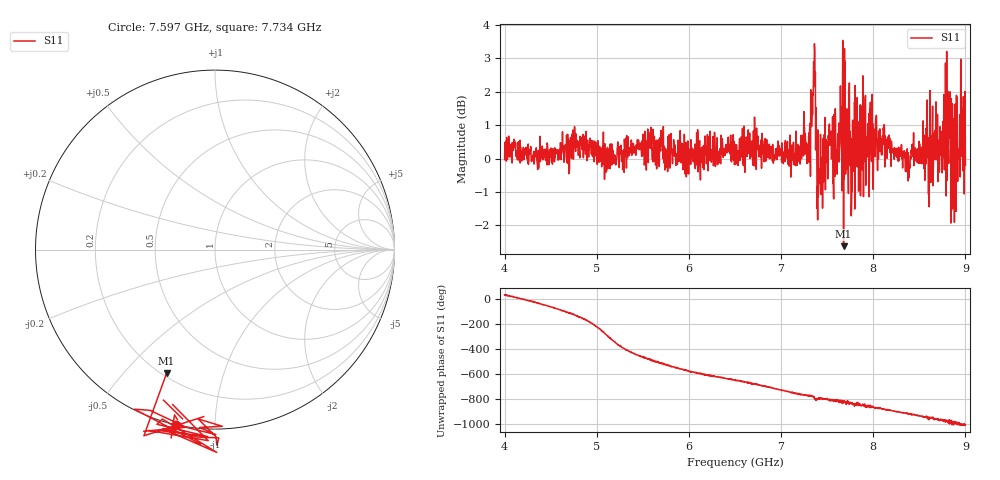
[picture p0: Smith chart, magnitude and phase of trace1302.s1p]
! Created with skrf 1.8.0 (http://scikit-rf.org).
# Hz S RI R 50.0
!freq ReS11 ImS11
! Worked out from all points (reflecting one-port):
!   1601 points, 4 GHz to 9 GHz, reference 50 ohm
!   lowest |S11| = -2.6 dB at 7.678 GHz (marker M1), VSWR 6.68, Z = 10.9 - j33 ohm
!   phase of S11 starts at 37 deg and turns -1044 deg over the sweep
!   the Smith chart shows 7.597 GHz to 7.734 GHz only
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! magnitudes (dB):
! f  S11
! 4 GHz  0.0
! 4.625 GHz  0.3
! 5.25 GHz  0.4
! 5.572 GHz  0.3
! 5.875 GHz  -0.2
! 6.5 GHz  0.3
! 7.125 GHz  0.3
! 7.294 GHz  0.1
! 7.347 GHz  1.9
! 7.362 GHz  3.4
! 7.4 GHz  0.9
! 7.412 GHz  -0.7
! 7.534 GHz  0.4
! 7.588 GHz  1.5
! 7.65 GHz  1.5
! 7.678 GHz  -2.6
! 7.75 GHz  -0.2
! 7.775 GHz  1.1
! 7.8 GHz  -1.5
! 7.891 GHz  0.4
! 7.916 GHz  1.9
! 8.375 GHz  0.0
! 8.438 GHz  0.8
! 8.728 GHz  0.1
! 8.775 GHz  1.3
! 8.875 GHz  1.0
! 8.972 GHz  0.5
! 9 GHz  -0.2
